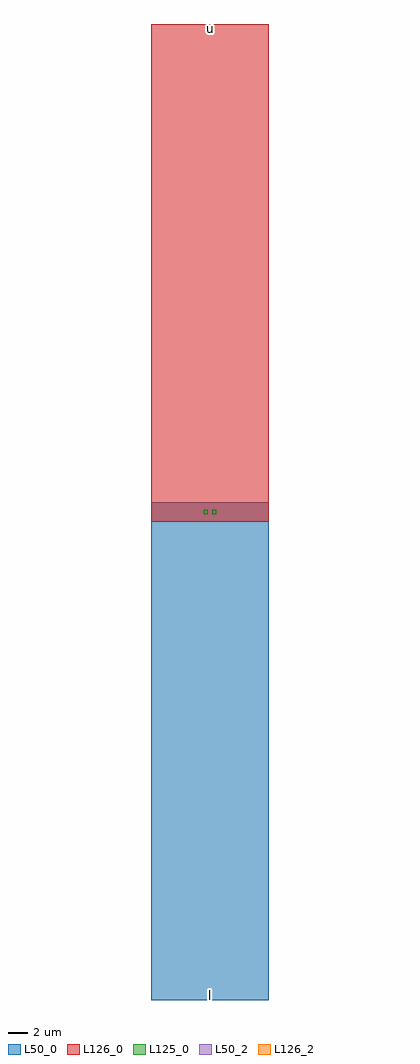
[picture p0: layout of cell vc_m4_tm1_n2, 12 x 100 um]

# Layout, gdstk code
import gdstk
lib = gdstk.Library(unit=1e-6, precision=1e-09)
def R(c, l, rs):  # rectangles x0, y0, x1, y1
    for r in rs: c.add(gdstk.rectangle(r[:2], r[2:], *l))
L50_0 = (50, 0)
L50_2 = (50, 2)
L125_0 = (125, 0)
L126_0 = (126, 0)
L126_2 = (126, 2)

vc_m4_tm1_n2 = lib.new_cell('vc_m4_tm1_n2')
R(vc_m4_tm1_n2, L50_0, [(0,0,12,51)])
R(vc_m4_tm1_n2, L50_2, [(5.9,0.4,6.1,0.6)])
R(vc_m4_tm1_n2, L125_0, [(5.37,49.79,5.79,50.21), (6.21,49.79,6.63,50.21)])
R(vc_m4_tm1_n2, L126_0, [(0,49,12,100)])
R(vc_m4_tm1_n2, L126_2, [(5.9,99.4,6.1,99.6)])
vc_m4_tm1_n2.add(gdstk.Label('l', (6,0.5), layer=50, texttype=2))
vc_m4_tm1_n2.add(gdstk.Label('u', (6,99.5), layer=126, texttype=2))

lib.write_gds('vc_m4_tm1_n2.gds')
